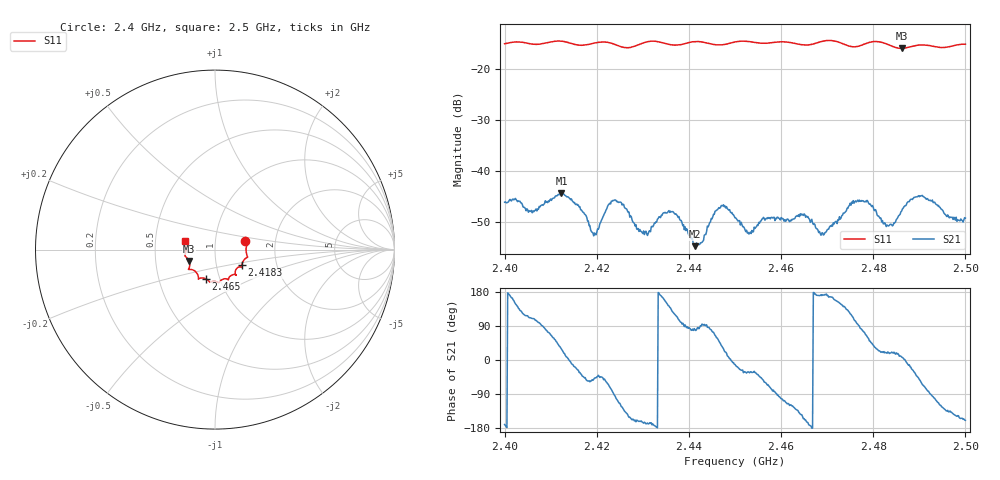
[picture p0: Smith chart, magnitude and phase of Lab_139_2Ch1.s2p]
# Hz S RI R 50
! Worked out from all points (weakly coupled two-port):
!   601 points, 2.4 GHz to 2.5 GHz, reference 50 ohm
!   highest |S21| = -44.46 dB at 2.4123 GHz (marker M1); lowest = -54.8 dB at 2.4413 GHz (marker M2)
!   lowest |S11| = -16.0 dB at 2.4862 GHz (marker M3), VSWR 1.38, Z = 37.1 - j4.81 ohm
!   |S11| at or under -10 dB: start of sweep to end of sweep
!   S12 and S22 are empty: the file has one direction only
!   S11 on the Smith chart (normalised r, x): 2.4 GHz: 1.40, +0.13; 2.4183 GHz: 1.33, -0.24; 2.465 GHz: 0.86, -0.29; 2.5 GHz: 0.71, +0.07
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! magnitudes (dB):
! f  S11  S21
! 2.4 GHz  -15.1  -46.2
! 2.406 GHz  -15.2  -48.2
! 2.4123 GHz  -14.6  -44.5
! 2.4167 GHz  -15.4  -47.7
! 2.4183 GHz  -15.2  -50.8
! 2.4198 GHz  -14.9  -52.6
! 2.4237 GHz  -15.2  -45.9
! 2.43 GHz  -15.0  -52.3
! 2.4333 GHz  -14.7  -49.4
! 2.4368 GHz  -15.4  -48.4
! 2.4413 GHz  -14.7  -54.8
! 2.447 GHz  -15.3  -46.8
! 2.45 GHz  -14.8  -49.2
! 2.4532 GHz  -14.7  -52.3
! 2.465 GHz  -15.4  -48.5
! 2.4667 GHz  -15.2  -49.5
! 2.4692 GHz  -14.6  -52.6
! 2.4772 GHz  -15.5  -46.0
! 2.4833 GHz  -15.3  -50.8
! 2.4862 GHz  -16.0  -47.9
! 2.4903 GHz  -15.4  -45.0
! 2.5 GHz  -15.2  -49.3
